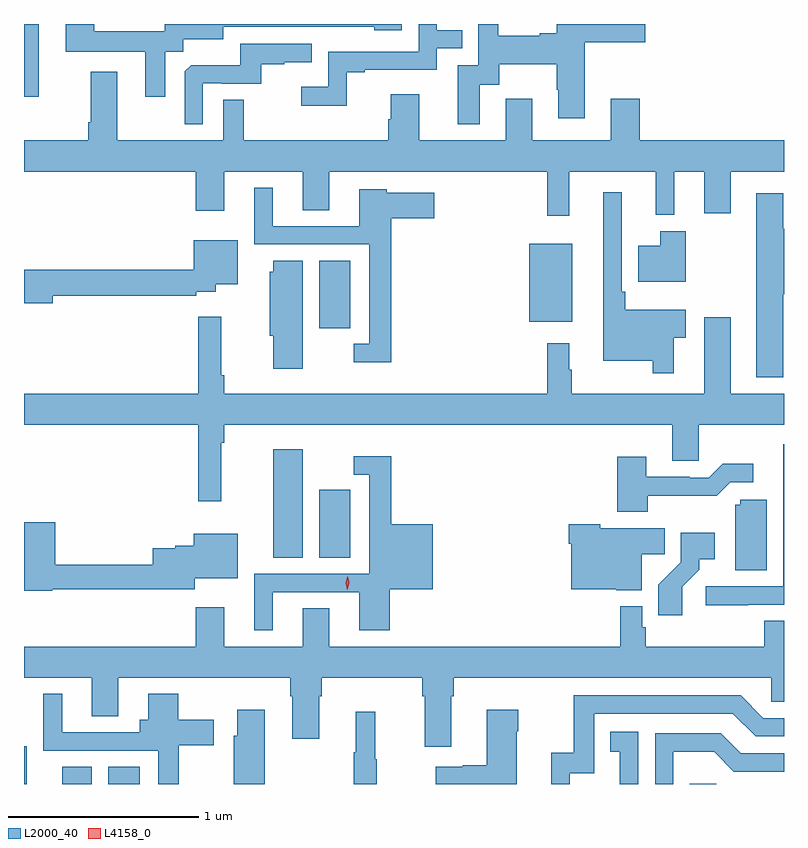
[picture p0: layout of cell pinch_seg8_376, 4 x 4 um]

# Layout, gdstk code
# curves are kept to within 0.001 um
import gdstk
lib = gdstk.Library(unit=1e-6, precision=1e-09)
def R(c, l, rs):  # rectangles x0, y0, x1, y1
    for r in rs: c.add(gdstk.rectangle(r[:2], r[2:], *l))
def P(c, l, *ps):  # polygons
    for p in ps: c.add(gdstk.Polygon(p, *l))
L2000_40 = (2000, 40)
L4158_0 = (4158, 0)

pinch_seg8_376 = lib.new_cell('pinch_seg8_376')
R(pinch_seg8_376, L2000_40, [(431.528,1095.961,431.542,1096.159), (431.729,1095.961,431.884,1096.052), (431.972,1095.961,432.136,1096.052), (435.031,1095.961,435.171,1095.963), (432.839,1097.152,432.994,1097.722), (433.082,1097.152,433.246,1097.509), (433.082,1098.36,433.246,1098.716), (434.186,1098.395,434.413,1098.805), (431.528,1099.578,431.605,1099.961)])
P(pinch_seg8_376, L2000_40, [(432.271,1099.816),(432.366,1099.816),(432.366,1099.88),(432.577,1099.88),(432.577,1099.947),(433.135,1099.947),(433.135,1099.946),(433.371,1099.946),(433.371,1099.928),(433.516,1099.928),(433.516,1099.961),(432.27,1099.961),(432.27,1099.924),(431.899,1099.924),(431.899,1099.961),(431.747,1099.961),(431.747,1099.814),(432.167,1099.814),(432.167,1099.578),(432.271,1099.578)],
  [(433.927,1099.642),(434.029,1099.642),(434.029,1099.748),(434.332,1099.748),(434.332,1099.614),(434.339,1099.614),(434.339,1099.464),(434.479,1099.464),(434.479,1099.864),(434.797,1099.864),(434.797,1099.961),(434.332,1099.961),(434.332,1099.913),(434.243,1099.913),(434.243,1099.9),(434.025,1099.9),(434.025,1099.961),(433.92,1099.961),(433.92,1099.743),(433.811,1099.743),(433.811,1099.434),(433.927,1099.434)],
  [(433.227,1099.707),(433.321,1099.707),(433.321,1099.719),(433.701,1099.719),(433.701,1099.833),(433.835,1099.833),(433.835,1099.929),(433.701,1099.929),(433.701,1099.961),(433.605,1099.961),(433.605,1099.815),(433.128,1099.815),(433.128,1099.63),(432.987,1099.63),(432.987,1099.532),(433.227,1099.532)],
  [(432.468,1099.65),(432.568,1099.65),(432.568,1099.647),(432.776,1099.647),(432.776,1099.749),(432.899,1099.749),(432.899,1099.76),(433.043,1099.76),(433.043,1099.857),(432.666,1099.857),(432.666,1099.745),(432.407,1099.745),(432.375,1099.713),(432.375,1099.433),(432.468,1099.433)],
  [(432.576,1099.348),(432.019,1099.348),(432.019,1099.711),(431.879,1099.711),(431.879,1099.444),(431.867,1099.444),(431.867,1099.348),(431.528,1099.348),(431.528,1099.184),(432.431,1099.184),(432.431,1098.978),(432.583,1098.978),(432.583,1099.184),(432.995,1099.184),(432.995,1098.982),(433.135,1098.982),(433.135,1099.184),(434.281,1099.184),(434.281,1098.951),(434.399,1098.951),(434.399,1099.184),(434.852,1099.184),(434.852,1098.956),(434.95,1098.956),(434.95,1099.184),(435.107,1099.184),(435.107,1098.966),(435.247,1098.966),(435.247,1099.184),(435.528,1099.184),(435.528,1099.348),(434.768,1099.348),(434.768,1099.567),(434.615,1099.567),(434.615,1099.348),(434.203,1099.348),(434.203,1099.567),(434.063,1099.567),(434.063,1099.348),(433.609,1099.348),(433.609,1099.591),(433.457,1099.591),(433.457,1099.461),(433.445,1099.461),(433.445,1099.348),(432.685,1099.348),(432.685,1099.562),(432.576,1099.562)],
  [(433.46,1098.938),(433.687,1098.938),(433.687,1099.072),(433.437,1099.072),(433.437,1099.09),(433.292,1099.09),(433.292,1098.897),(432.838,1098.897),(432.838,1099.099),(432.74,1099.099),(432.74,1098.801),(433.344,1098.801),(433.344,1098.279),(433.263,1098.279),(433.263,1098.182),(433.46,1098.182)],
  [(434.947,1098.31),(435.01,1098.31),(435.01,1098.457),(434.693,1098.457),(434.693,1098.553),(434.673,1098.553),(434.673,1099.075),(434.576,1099.075),(434.576,1098.188),(434.838,1098.188),(434.838,1098.123),(434.947,1098.123)],
  [(435.523,1098.539),(435.528,1098.539),(435.528,1098.883),(435.523,1098.883),(435.523,1099.069),(435.383,1099.069),(435.383,1098.101),(435.523,1098.101)],
  [(435.01,1098.871),(434.876,1098.871),(434.876,1098.793),(434.762,1098.793),(434.762,1098.605),(435.01,1098.605)],
  [(431.68,1098.532),(432.434,1098.532),(432.434,1098.551),(432.538,1098.551),(432.538,1098.59),(432.652,1098.59),(432.652,1098.823),(432.422,1098.823),(432.422,1098.668),(431.528,1098.668),(431.528,1098.49),(431.68,1098.49)],
  [(432.994,1098.716),(432.839,1098.716),(432.839,1098.657),(432.821,1098.657),(432.821,1098.321),(432.839,1098.321),(432.839,1098.147),(432.994,1098.147)],
  [(432.566,1097.756),(432.581,1097.756),(432.581,1097.852),(434.939,1097.852),(434.939,1097.662),(435.078,1097.662),(435.078,1097.852),(435.528,1097.852),(435.528,1098.016),(435.247,1098.016),(435.247,1098.418),(435.107,1098.418),(435.107,1098.016),(434.41,1098.016),(434.41,1098.14),(434.398,1098.14),(434.398,1098.28),(434.281,1098.28),(434.281,1098.016),(432.581,1098.016),(432.581,1098.112),(432.566,1098.112),(432.566,1098.421),(432.445,1098.421),(432.445,1098.016),(431.528,1098.016),(431.528,1097.852),(432.445,1097.852),(432.445,1097.448),(432.566,1097.448)],
  [(435.341,1096.905),(435.528,1096.905),(435.528,1097.749),(435.525,1097.749),(435.525,1097.001),(435.117,1097.001),(435.117,1096.903),(435.341,1096.903)],
  [(432.838,1096.971),(433.292,1096.971),(433.292,1096.77),(433.454,1096.77),(433.454,1096.985),(433.678,1096.985),(433.678,1097.329),(433.46,1097.329),(433.46,1097.686),(433.263,1097.686),(433.263,1097.589),(433.344,1097.589),(433.344,1097.067),(432.74,1097.067),(432.74,1096.77),(432.838,1096.77)],
  [(434.811,1097.478),(435.173,1097.477),(435.246,1097.55),(435.367,1097.55),(435.367,1097.647),(435.205,1097.647),(435.132,1097.574),(435.032,1097.574),(435.032,1097.577),(434.803,1097.577),(434.803,1097.683),(434.651,1097.683),(434.651,1097.393),(434.811,1097.393)],
  [(435.436,1097.457),(435.297,1097.457),(435.297,1097.43),(435.272,1097.43),(435.272,1097.086),(435.436,1097.086)],
  [(431.676,1096.986),(432.427,1096.986),(432.427,1097.045),(432.652,1097.045),(432.652,1097.278),(432.422,1097.278),(432.422,1097.216),(432.323,1097.216),(432.323,1097.203),(432.206,1097.203),(432.206,1097.114),(431.693,1097.114),(431.693,1097.338),(431.528,1097.338),(431.528,1096.978),(431.676,1096.978)],
  [(434.779,1097.17),(434.9,1097.17),(434.9,1097.308),(434.562,1097.308),(434.562,1097.329),(434.396,1097.329),(434.396,1097.225),(434.408,1097.225),(434.408,1096.985),(434.646,1096.985),(434.646,1096.982),(434.779,1096.982)],
  [(434.992,1096.999),(435.082,1097.089),(435.082,1097.144),(435.163,1097.144),(435.163,1097.284),(434.985,1097.284),(434.985,1097.129),(434.866,1097.01),(434.866,1096.848),(434.992,1096.848)],
  [(435.425,1096.684),(434.801,1096.684),(434.801,1096.785),(434.781,1096.785),(434.781,1096.897),(434.665,1096.897),(434.665,1096.684),(433.135,1096.684),(433.135,1096.886),(432.995,1096.886),(432.995,1096.684),(432.583,1096.684),(432.583,1096.891),(432.431,1096.891),(432.431,1096.684),(431.528,1096.684),(431.528,1096.52),(431.885,1096.52),(431.885,1096.318),(432.025,1096.318),(432.025,1096.52),(432.929,1096.52),(432.929,1096.424),(432.941,1096.424),(432.941,1096.2),(433.081,1096.2),(433.081,1096.424),(433.094,1096.424),(433.094,1096.52),(433.625,1096.52),(433.625,1096.424),(433.637,1096.424),(433.637,1096.158),(433.777,1096.158),(433.777,1096.424),(433.79,1096.424),(433.79,1096.52),(435.462,1096.52),(435.462,1096.393),(435.528,1096.393),(435.528,1096.82),(435.425,1096.82)],
  [(432.343,1096.166),(432.526,1096.166),(432.526,1096.3),(432.339,1096.3),(432.339,1096.435),(432.182,1096.435),(432.182,1096.3),(432.137,1096.3),(432.137,1096.233),(431.728,1096.233),(431.728,1096.435),(431.63,1096.435),(431.63,1096.137),(432.234,1096.137),(432.234,1095.961),(432.343,1095.961)],
  [(434.4,1096.017),(434.529,1096.017),(434.529,1096.332),(435.258,1096.332),(435.378,1096.212),(435.528,1096.212),(435.528,1096.308),(435.42,1096.308),(435.3,1096.428),(434.421,1096.428),(434.421,1096.126),(434.303,1096.126),(434.303,1095.961),(434.4,1095.961)],
  [(432.796,1096.351),(432.65,1096.351),(432.65,1096.215),(432.632,1096.215),(432.632,1095.961),(432.796,1095.961)],
  [(434.122,1096.238),(434.13,1096.238),(434.13,1096.351),(433.964,1096.351),(433.964,1096.061),(433.838,1096.061),(433.838,1096.051),(433.695,1096.051),(433.695,1095.961),(434.122,1095.961)],
  [(433.384,1096.092),(433.376,1096.092),(433.376,1096.342),(433.274,1096.342),(433.274,1096.129),(433.263,1096.129),(433.263,1095.961),(433.384,1095.961)],
  [(434.76,1096.237),(434.614,1096.237),(434.614,1096.131),(434.663,1096.131),(434.663,1095.961),(434.76,1095.961)],
  [(434.946,1096.13),(435.16,1096.13),(435.264,1096.026),(435.528,1096.026),(435.528,1096.122),(435.301,1096.122),(435.196,1096.227),(434.85,1096.227),(434.85,1095.961),(434.946,1095.961)])
P(pinch_seg8_376, L4158_0, [(433.23,1096.983),(433.229,1096.984),(433.221,1097.019),(433.232,1097.054),(433.232,1097.055),(433.232,1097.054),(433.241,1097.019),(433.23,1096.984)])

lib.write_gds('pinch_seg8_376.gds')
